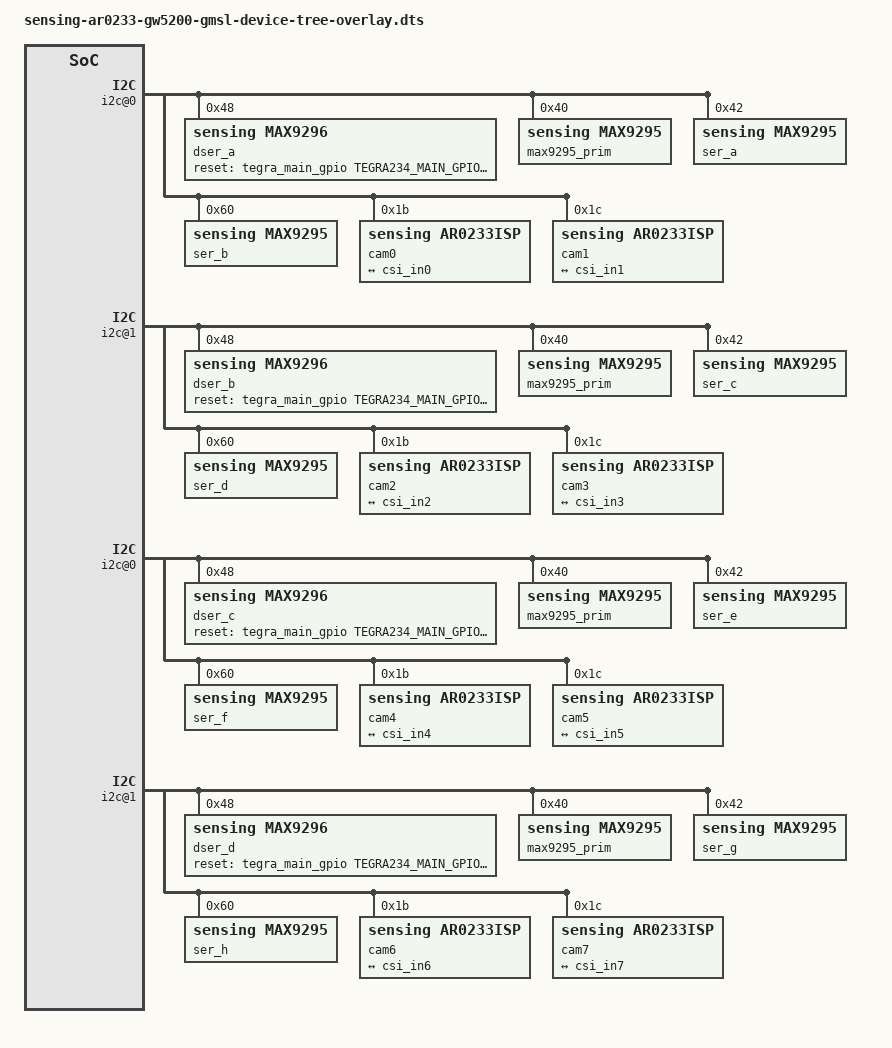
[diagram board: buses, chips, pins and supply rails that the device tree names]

#include <dt-bindings/gpio/tegra234-gpio.h>

/dts-v1/;
/plugin/;
 
/ {
    overlay-name = "Sensing AR0233 GW5200 GMSL2 Camera Device Tree Overlay";
    jetson-header-name = "Jetson AGX CSI Connector";
    compatible = "nvidia,p3737-0000+p3701-0000" , "nvidia,p3737-0000+p3701-0004", "nvidia,p3737-0000+p3701-0005";
 
    fragment@0 {
        target-path = "/i2c@3180000/tca9543@72/i2c@0";
        __overlay__ {
            dser_a: max9296@48 {
			    compatible = "sensing,max9296";
			    streams = "yuv8";
			    reg = <0x48>;
			    csi-mode = "2x4";
				max-src = <2>;
			    fsync-gpio = <6>;
			    reset-gpios = <&tegra_main_gpio TEGRA234_MAIN_GPIO(H, 6) GPIO_ACTIVE_HIGH>;
            };
            max9295_prim@40 {
                compatible = "sensing,max9295";
                reg = <0x40>;
                is-prim-ser;
            };
            ser_a: max9295_a@42 {
                compatible = "sensing,max9295";
                reg = <0x42>;
                nvidia,gmsl-dser-device = <&dser_a>;
            };
            ser_b: max9295_b@60 {
                compatible = "sensing,max9295";
                reg = <0x60>;
                nvidia,gmsl-dser-device = <&dser_a>;
            };
            cam0@1b {
                compatible = "sensing,ar0233isp";
                def-addr = <0x10>;
                mclk = "extperiph1";
                nvidia,gmsl-ser-device = <&ser_a>;
                nvidia,gmsl-dser-device = <&dser_a>;
                reg = <0x1b>;
                reg_mux = <0>;
                physical_w = "15.0";
                physical_h = "12.5";
                sensor_model ="ar0233";
                post_crop_frame_drop = "0";
                use_sensor_mode_id = "true";

                mode0 {
                    mclk_khz = "24000";
                    num_lanes = "4";
                    tegra_sinterface = "serial_a";
                    vc_id = "0";
                    discontinuous_clk = "no";
                    dpcm_enable = "false";
                    cil_settletime = "0";
                    dynamic_pixel_bit_depth = "16";
                    csi_pixel_bit_depth = "16";
                    mode_type = "yuv";
                    pixel_phase = "uyvy";

                    active_w = "1920";
                    active_h = "1080";
                    readout_orientation = "0";
                    line_length = "2200";
                    inherent_gain = "1";
                    pix_clk_hz = "74250000";
                    serdes_pix_clk_hz = "833333333";

                    gain_factor = "100";
                    min_gain_val = "100";
                    max_gain_val = "800";
                    step_gain_val = "1";
                    default_gain = "100";
                    min_hdr_ratio = "1";
                    max_hdr_ratio = "1";
                    framerate_factor = "1000000";
                    min_framerate = "30000000";
                    max_framerate = "30000000";
                    step_framerate = "1";
                    default_framerate = "30000000";
                    exposure_factor = "1000000";
                    min_exp_time = "49";
                    max_exp_time = "33333";
                    step_exp_time = "1";
                    default_exp_time = "33333";
                    embedded_metadata_height = "0";
                };
                ports {
                    #address-cells = <1>;
                    #size-cells = <0>;
                    port@0 {
                        reg = <0>;
                        ar0233_out0: endpoint {
                            vc-id = <0>;
                            port-index = <0>;
                            bus-width = <4>;
                            remote-endpoint = <&csi_in0>;
                        };
                    };
                };
                gmsl-link {
                    src-csi-port = "b";
                    dst-csi-port = "a";
                    serdes-csi-link = "a";
                    csi-mode = "1x4";
                    st-vc = <0>;
                    vc-id = <0>;
                    num-lanes = <4>;
                    streams = "ued-u1", "yuv8";
                };
            };
            cam1@1c {
                compatible = "sensing,ar0233isp";
                def-addr = <0x10>;
                mclk = "extperiph1";
                nvidia,gmsl-ser-device = <&ser_b>;
                nvidia,gmsl-dser-device = <&dser_a>;
                reg = <0x1c>;
                reg_mux = <0>;
                physical_w = "15.0";
                physical_h = "12.5";
                sensor_model ="ar0233";
                post_crop_frame_drop = "0";
                use_sensor_mode_id = "true";

                mode0 {
                    mclk_khz = "24000";
                    num_lanes = "4";
                    tegra_sinterface = "serial_a";
                    vc_id = "1";
                    discontinuous_clk = "no";
                    dpcm_enable = "false";
                    cil_settletime = "0";
                    dynamic_pixel_bit_depth = "16";
                    csi_pixel_bit_depth = "16";
                    mode_type = "yuv";
                    pixel_phase = "uyvy";

                    active_w = "1920";
                    active_h = "1080";
                    readout_orientation = "0";
                    line_length = "2200";
                    inherent_gain = "1";
                    pix_clk_hz = "74250000";
                    serdes_pix_clk_hz = "833333333";

                    gain_factor = "100";
                    min_gain_val = "100";
                    max_gain_val = "800";
                    step_gain_val = "1";
                    default_gain = "100";
                    min_hdr_ratio = "1";
                    max_hdr_ratio = "1";
                    framerate_factor = "1000000";
                    min_framerate = "30000000";
                    max_framerate = "30000000";
                    step_framerate = "1";
                    default_framerate = "30000000";
                    exposure_factor = "1000000";
                    min_exp_time = "49";
                    max_exp_time = "33333";
                    step_exp_time = "1";
                    default_exp_time = "33333";
                    embedded_metadata_height = "0";
                };
                ports {
                    #address-cells = <1>;
                    #size-cells = <0>;
                    port@0 {
                        reg = <0>;
                        ar0233_out1: endpoint {
                            vc-id = <1>;
                            port-index = <0>;
                            bus-width = <4>;
                            remote-endpoint = <&csi_in1>;
                        };
                    };
                };
                gmsl-link {
                    src-csi-port = "b";
                    dst-csi-port = "a";
                    serdes-csi-link = "b";
                    csi-mode = "1x4";
                    st-vc = <0>;
                    vc-id = <1>;
                    num-lanes = <4>;
                    streams = "ued-u1", "yuv8";
                };                      
            };
        };
    };

    fragment@1 {
        target-path = "/i2c@3180000/tca9543@72/i2c@1";
        __overlay__ {
            dser_b: max9296@48 {
			    compatible = "sensing,max9296";
			    streams = "yuv8";
			    reg = <0x48>;
			    csi-mode = "2x4";
				max-src = <2>;
			    fsync-gpio = <6>;
			    reset-gpios = <&tegra_main_gpio TEGRA234_MAIN_GPIO(AC, 0) GPIO_ACTIVE_HIGH>;
            };
            max9295_prim@40 {
                compatible = "sensing,max9295";
                reg = <0x40>;
                is-prim-ser;
            };
            ser_c: max9295_a@42 {
                compatible = "sensing,max9295";
                reg = <0x42>;
                nvidia,gmsl-dser-device = <&dser_b>;
            };
            ser_d: max9295_b@60 {
                compatible = "sensing,max9295";
                reg = <0x60>;
                nvidia,gmsl-dser-device = <&dser_b>;
            };
            cam2@1b {
                compatible = "sensing,ar0233isp";
                def-addr = <0x10>;
                mclk = "extperiph1";
                nvidia,gmsl-ser-device = <&ser_c>;
                nvidia,gmsl-dser-device = <&dser_b>;
                reg = <0x1b>;
                reg_mux = <1>;

                physical_w = "15.0";
                physical_h = "12.5";

                sensor_model ="ar0233";

                post_crop_frame_drop = "0";

                /* enable CID_SENSOR_MODE_ID for sensor modes selection */
                use_sensor_mode_id = "true";

                mode0 {
                    mclk_khz = "24000";
                    num_lanes = "4";
                    tegra_sinterface = "serial_c";
                    vc_id = "0";
                    discontinuous_clk = "no";
                    dpcm_enable = "false";
                    cil_settletime = "0";
                    dynamic_pixel_bit_depth = "16";
                    csi_pixel_bit_depth = "16";
                    mode_type = "yuv";
                    pixel_phase = "uyvy";

                    active_w = "1920";
                    active_h = "1080";
                    readout_orientation = "0";
                    line_length = "2200";
                    inherent_gain = "1";
                    pix_clk_hz = "74250000";
                    serdes_pix_clk_hz = "833333333";

                    gain_factor = "100";
                    min_gain_val = "100";
                    max_gain_val = "800";
                    step_gain_val = "1";
                    default_gain = "100";
                    min_hdr_ratio = "1";
                    max_hdr_ratio = "1";
                    framerate_factor = "1000000";
                    min_framerate = "30000000";
                    max_framerate = "30000000";
                    step_framerate = "1";
                    default_framerate = "30000000";
                    exposure_factor = "1000000";
                    min_exp_time = "49";
                    max_exp_time = "33333";
                    step_exp_time = "1";
                    default_exp_time = "33333";
                    embedded_metadata_height = "0";
                };
                ports {
                    #address-cells = <1>;
                    #size-cells = <0>;
                    port@0 {
                        reg = <0>;
                        ar0233_out2: endpoint {
                            vc-id = <0>;
                            port-index = <2>;
                            bus-width = <4>;
                            remote-endpoint = <&csi_in2>;
                        };
                    };
                };
                gmsl-link {
                    src-csi-port = "b";
                    dst-csi-port = "a";
                    serdes-csi-link = "a";
                    csi-mode = "1x4";
                    st-vc = <0>;
                    vc-id = <0>;
                    num-lanes = <4>;
                    streams = "ued-u1", "yuv8";
                };
            };
            cam3@1c {
                compatible = "sensing,ar0233isp";
                def-addr = <0x10>;
                mclk = "extperiph1";
                nvidia,gmsl-ser-device = <&ser_d>;
                nvidia,gmsl-dser-device = <&dser_b>;
                reg = <0x1c>;
                reg_mux = <1>;

                physical_w = "15.0";
                physical_h = "12.5";

                sensor_model ="ar0233";

                post_crop_frame_drop = "0";

                use_sensor_mode_id = "true";

                mode0 {
                    mclk_khz = "24000";
                    num_lanes = "4";
                    tegra_sinterface = "serial_c";
                    vc_id = "1";
                    discontinuous_clk = "no";
                    dpcm_enable = "false";
                    cil_settletime = "0";
                    dynamic_pixel_bit_depth = "16";
                    csi_pixel_bit_depth = "16";
                    mode_type = "yuv";
                    pixel_phase = "uyvy";

                    active_w = "1920";
                    active_h = "1080";
                    readout_orientation = "0";
                    line_length = "2200";
                    inherent_gain = "1";
                    pix_clk_hz = "74250000";
                    serdes_pix_clk_hz = "833333333";

                    gain_factor = "100";
                    min_gain_val = "100";
                    max_gain_val = "800";
                    step_gain_val = "1";
                    default_gain = "100";
                    min_hdr_ratio = "1";
                    max_hdr_ratio = "1";
                    framerate_factor = "1000000";
                    min_framerate = "30000000";
                    max_framerate = "30000000";
                    step_framerate = "1";
                    default_framerate = "30000000";
                    exposure_factor = "1000000";
                    min_exp_time = "49";
                    max_exp_time = "33333";
                    step_exp_time = "1";
                    default_exp_time = "33333";
                    embedded_metadata_height = "0";
                };
                ports {
                    #address-cells = <1>;
                    #size-cells = <0>;
                    port@0 {
                        reg = <0>;
                        ar0233_out3: endpoint {
                            vc-id = <1>;
                            port-index = <2>;
                            bus-width = <4>;
                            remote-endpoint = <&csi_in3>;
                        };
                    };
                };
                gmsl-link {
                    src-csi-port = "b";
                    dst-csi-port = "a";
                    serdes-csi-link = "b";
                    csi-mode = "1x4";
                    st-vc = <0>;
                    vc-id = <1>;
                    num-lanes = <4>;
                    streams = "ued-u1", "yuv8";
                };
            };
        };
    };
  
    fragment@2 {
        target-path = "/i2c@3180000/tca9543@70/i2c@0";
        __overlay__ {
            dser_c: max9296@48 {
			    compatible = "sensing,max9296";
			    streams = "yuv8";
			    reg = <0x48>;
			    csi-mode = "2x4";
				max-src = <2>;
			    fsync-gpio = <6>;
			    reset-gpios = <&tegra_main_gpio TEGRA234_MAIN_GPIO(H, 3) GPIO_ACTIVE_HIGH>;
            };
            max9295_prim@40 {
                compatible = "sensing,max9295";
                reg = <0x40>;
                is-prim-ser;
            };
            ser_e: max9295_a@42 {
                compatible = "sensing,max9295";
                reg = <0x42>;
                nvidia,gmsl-dser-device = <&dser_c>;
            };
            ser_f: max9295_b@60 {
                compatible = "sensing,max9295";
                reg = <0x60>;
                nvidia,gmsl-dser-device = <&dser_c>;
            };
            cam4@1b {
                compatible = "sensing,ar0233isp";
                def-addr = <0x10>;
                mclk = "extperiph1";
                nvidia,gmsl-ser-device = <&ser_e>;
                nvidia,gmsl-dser-device = <&dser_c>;
                reg = <0x1b>;
                reg_mux = <4>;

                physical_w = "15.0";
                physical_h = "12.5";

                sensor_model ="ar0233";

                post_crop_frame_drop = "0";

                use_sensor_mode_id = "true";

                mode0 {
                    mclk_khz = "24000";
                    num_lanes = "4";
                    tegra_sinterface = "serial_e";
                    vc_id = "0";
                    discontinuous_clk = "no";
                    dpcm_enable = "false";
                    cil_settletime = "0";
                    dynamic_pixel_bit_depth = "16";
                    csi_pixel_bit_depth = "16";
                    mode_type = "yuv";
                    pixel_phase = "uyvy";

                    active_w = "1920";
                    active_h = "1080";
                    readout_orientation = "0";
                    line_length = "2200";
                    inherent_gain = "1";
                    pix_clk_hz = "74250000";
                    serdes_pix_clk_hz = "833333333";

                    gain_factor = "100";
                    min_gain_val = "100";
                    max_gain_val = "800";
                    step_gain_val = "1";
                    default_gain = "100";
                    min_hdr_ratio = "1";
                    max_hdr_ratio = "1";
                    framerate_factor = "1000000";
                    min_framerate = "30000000";
                    max_framerate = "30000000";
                    step_framerate = "1";
                    default_framerate = "30000000";
                    exposure_factor = "1000000";
                    min_exp_time = "49";
                    max_exp_time = "33333";
                    step_exp_time = "1";
                    default_exp_time = "33333";
                    embedded_metadata_height = "0";
                };
                ports {
                    #address-cells = <1>;
                    #size-cells = <0>;
                    port@0 {
                        reg = <0>;
                        ar0233_out4: endpoint {
                            vc-id = <0>;
                            port-index = <4>;
                            bus-width = <4>;
                            remote-endpoint = <&csi_in4>;
                        };
                    };
                };
                gmsl-link {
                    src-csi-port = "b";
                    dst-csi-port = "a";
                    serdes-csi-link = "a";
                    csi-mode = "1x4";
                    st-vc = <0>;
                    vc-id = <0>;
                    num-lanes = <4>;
                    streams = "ued-u1", "yuv8";
                };
            };
            cam5@1c {
                compatible = "sensing,ar0233isp";
                def-addr = <0x10>;
                mclk = "extperiph1";
                nvidia,gmsl-ser-device = <&ser_f>;
                nvidia,gmsl-dser-device = <&dser_c>;
                reg = <0x1c>;
                reg_mux = <2>;

                physical_w = "15.0";
                physical_h = "12.5";

                sensor_model ="ar0233";

                post_crop_frame_drop = "0";

                use_sensor_mode_id = "true";

                mode0 {
                    mclk_khz = "24000";
                    num_lanes = "4";
                    tegra_sinterface = "serial_e";
                    vc_id = "1";
                    discontinuous_clk = "no";
                    dpcm_enable = "false";
                    cil_settletime = "0";
                    dynamic_pixel_bit_depth = "16";
                    csi_pixel_bit_depth = "16";
                    mode_type = "yuv";
                    pixel_phase = "uyvy";

                    active_w = "1920";
                    active_h = "1080";
                    readout_orientation = "0";
                    line_length = "2200";
                    inherent_gain = "1";
                    pix_clk_hz = "74250000";
                    serdes_pix_clk_hz = "833333333";

                    gain_factor = "100";
                    min_gain_val = "100";
                    max_gain_val = "800";
                    step_gain_val = "1";
                    default_gain = "100";
                    min_hdr_ratio = "1";
                    max_hdr_ratio = "1";
                    framerate_factor = "1000000";
                    min_framerate = "30000000";
                    max_framerate = "30000000";
                    step_framerate = "1";
                    default_framerate = "30000000";
                    exposure_factor = "1000000";
                    min_exp_time = "49";
                    max_exp_time = "33333";
                    step_exp_time = "1";
                    default_exp_time = "33333";
                    embedded_metadata_height = "0";
                };
                ports {
                    #address-cells = <1>;
                    #size-cells = <0>;
                    port@0 {
                        reg = <0>;
                        ar0233_out5: endpoint {
                            vc-id = <1>;
                            port-index = <4>;
                            bus-width = <4>;
                            remote-endpoint = <&csi_in5>;
                        };
                    };
                };
                gmsl-link {
                    src-csi-port = "b";
                    dst-csi-port = "a";
                    serdes-csi-link = "b";
                    csi-mode = "1x4";
                    st-vc = <0>;
                    vc-id = <1>;
                    num-lanes = <4>;
                    streams = "ued-u1", "yuv8";
                };
            };
        };
    };

    fragment@3 {
        target-path = "/i2c@3180000/tca9543@70/i2c@1";
        __overlay__ {
            dser_d: max9296@48 {
			    compatible = "sensing,max9296";
			    streams = "yuv8";
			    reg = <0x48>;
			    csi-mode = "2x4";
				max-src = <2>;
			    fsync-gpio = <6>;
			    reset-gpios = <&tegra_main_gpio TEGRA234_MAIN_GPIO(AC, 1) GPIO_ACTIVE_HIGH>;
            };
            max9295_prim@40 {
                compatible = "sensing,max9295";
                reg = <0x40>;
                is-prim-ser;
            };
            ser_g: max9295_a@42 {
                compatible = "sensing,max9295";
                reg = <0x42>;
                nvidia,gmsl-dser-device = <&dser_d>;
            };
            ser_h: max9295_b@60 {
                compatible = "sensing,max9295";
                reg = <0x60>;
                nvidia,gmsl-dser-device = <&dser_d>;
            };
            cam6@1b {
                compatible = "sensing,ar0233isp";
                def-addr = <0x10>;
                mclk = "extperiph1";
                nvidia,gmsl-ser-device = <&ser_g>;
                nvidia,gmsl-dser-device = <&dser_d>;
                reg = <0x1b>;
                reg_mux = <3>;

                physical_w = "15.0";
                physical_h = "12.5";

                sensor_model ="ar0233";

                post_crop_frame_drop = "0";

                use_sensor_mode_id = "true";

                mode0 {
                    mclk_khz = "24000";
                    num_lanes = "4";
                    tegra_sinterface = "serial_g";
                    vc_id = "0";
                    discontinuous_clk = "no";
                    dpcm_enable = "false";
                    cil_settletime = "0";
                    dynamic_pixel_bit_depth = "16";
                    csi_pixel_bit_depth = "16";
                    mode_type = "yuv";
                    pixel_phase = "uyvy";

                    active_w = "1920";
                    active_h = "1080";
                    readout_orientation = "0";
                    line_length = "2200";
                    inherent_gain = "1";
                    pix_clk_hz = "74250000";
                    serdes_pix_clk_hz = "833333333";

                    gain_factor = "100";
                    min_gain_val = "100";
                    max_gain_val = "800";
                    step_gain_val = "1";
                    default_gain = "100";
                    min_hdr_ratio = "1";
                    max_hdr_ratio = "1";
                    framerate_factor = "1000000";
                    min_framerate = "30000000";
                    max_framerate = "30000000";
                    step_framerate = "1";
                    default_framerate = "30000000";
                    exposure_factor = "1000000";
                    min_exp_time = "49";
                    max_exp_time = "33333";
                    step_exp_time = "1";
                    default_exp_time = "33333";
                    embedded_metadata_height = "0";
                };
                ports {
                    #address-cells = <1>;
                    #size-cells = <0>;
                    port@0 {
                        reg = <0>;
                        ar0233_out6: endpoint {
                            vc-id = <0>;
                            port-index = <5>;
                            bus-width = <4>;
                            remote-endpoint = <&csi_in6>;
                        };
                    };
                };
                gmsl-link {
                    src-csi-port = "b";
                    dst-csi-port = "a";
                    serdes-csi-link = "a";
                    csi-mode = "1x4";
                    st-vc = <0>;
                    vc-id = <0>;
                    num-lanes = <4>;
                    streams = "ued-u1", "yuv8";
                };
            };
            cam7@1c {
                compatible = "sensing,ar0233isp";
                def-addr = <0x10>;
                mclk = "extperiph1";
                nvidia,gmsl-ser-device = <&ser_h>;
                nvidia,gmsl-dser-device = <&dser_d>;
                reg = <0x1c>;
                reg_mux = <3>;

                physical_w = "15.0";
                physical_h = "12.5";

                sensor_model ="ar0233";

                post_crop_frame_drop = "0";

                use_sensor_mode_id = "true";

                mode0 {
                    mclk_khz = "24000";
                    num_lanes = "4";
                    tegra_sinterface = "serial_g";
                    vc_id = "1";
                    discontinuous_clk = "no";
                    dpcm_enable = "false";
                    cil_settletime = "0";
                    dynamic_pixel_bit_depth = "16";
                    csi_pixel_bit_depth = "16";
                    mode_type = "yuv";
                    pixel_phase = "uyvy";

                    active_w = "1920";
                    active_h = "1080";
                    readout_orientation = "0";
                    line_length = "2200";
                    inherent_gain = "1";
                    pix_clk_hz = "74250000";
                    serdes_pix_clk_hz = "833333333";

                    gain_factor = "100";
                    min_gain_val = "100";
                    max_gain_val = "800";
                    step_gain_val = "1";
                    default_gain = "100";
                    min_hdr_ratio = "1";
                    max_hdr_ratio = "1";
                    framerate_factor = "1000000";
                    min_framerate = "30000000";
                    max_framerate = "30000000";
                    step_framerate = "1";
                    default_framerate = "30000000";
                    exposure_factor = "1000000";
                    min_exp_time = "49";
                    max_exp_time = "33333";
                    step_exp_time = "1";
                    default_exp_time = "33333";
                    embedded_metadata_height = "0";
                };
                ports {
                    #address-cells = <1>;
                    #size-cells = <0>;
                    port@0 {
                        reg = <0>;
                        ar0233_out7: endpoint {
                            vc-id = <1>;
                            port-index = <5>;
                            bus-width = <4>;
                            remote-endpoint = <&csi_in7>;
                        };
                    };
                };
                gmsl-link {
                    src-csi-port = "b";
                    dst-csi-port = "a";
                    serdes-csi-link = "b";
                    csi-mode = "1x4";
                    st-vc = <0>;
                    vc-id = <1>;
                    num-lanes = <4>;
                    streams = "ued-u1", "yuv8";
                };
            };
        };
    };

    fragment@4 {
        target-path = "/host1x@13e00000/nvcsi@15a00000";
        __overlay__ {
            num-channels = <8>;
			#address-cells = <1>;
			#size-cells = <0>;
			channel@0 {
				reg = <0>;
				ports {
					#address-cells = <1>;
					#size-cells = <0>;
					port@0 {
						reg = <0>;
						csi_in0: endpoint@0 {
							port-index = <0>;
							bus-width = <4>;
							remote-endpoint = <&ar0233_out0>;
						};
					};
					port@1 {
						reg = <1>;
						csi_out0: endpoint@1 {
							remote-endpoint = <&vi_in0>;
						};
					};
				};
			};
			channel@1 {
				reg = <1>;
				ports {
					#address-cells = <1>;
					#size-cells = <0>;
					port@0 {
						reg = <0>;
						csi_in1: endpoint@2 {
							port-index = <0>;
							bus-width = <4>;
							remote-endpoint = <&ar0233_out1>;
						};
					};
					port@1 {
						reg = <1>;
						csi_out1: endpoint@3 {
							remote-endpoint = <&vi_in1>;
						};
					};
				};
			};
			channel@2 {
				reg = <2>;
				ports {
					#address-cells = <1>;
					#size-cells = <0>;
					port@0 {
						reg = <0>;
						csi_in2: endpoint@4 {
							port-index = <2>;
							bus-width = <4>;
							remote-endpoint = <&ar0233_out2>;
						};
					};
					port@1 {
						reg = <1>;
						csi_out2: endpoint@5 {
							remote-endpoint = <&vi_in2>;
						};
					};
				};
			};
			channel@3 {
				reg = <3>;
				ports {
					#address-cells = <1>;
					#size-cells = <0>;
					port@0 {
						reg = <0>;
						csi_in3: endpoint@6 {
							port-index = <2>;
							bus-width = <4>;
							remote-endpoint = <&ar0233_out3>;
						};
					};
					port@1 {
						reg = <1>;
						csi_out3: endpoint@7 {
							remote-endpoint = <&vi_in3>;
						};
					};
				};
			};
			channel@4 {
				reg = <4>;
				ports {
					#address-cells = <1>;
					#size-cells = <0>;
					port@0 {
						reg = <0>;
						csi_in4: endpoint@8 {
							port-index = <4>;
							bus-width = <4>;
							remote-endpoint = <&ar0233_out4>;
						};
					};
					port@1 {
						reg = <1>;
						csi_out4: endpoint@9 {
							remote-endpoint = <&vi_in4>;
						};
					};
				};
			};
			channel@5 {
				reg = <5>;
				ports {
					#address-cells = <1>;
					#size-cells = <0>;
					port@0 {
						reg = <0>;
						csi_in5: endpoint@10 {
							port-index = <4>;
							bus-width = <4>;
							remote-endpoint = <&ar0233_out5>;
						};
					};
					port@1 {
						reg = <1>;
						csi_out5: endpoint@11 {
							remote-endpoint = <&vi_in5>;
						};
					};
				};
			};
			channel@6 {
				reg = <6>;
				ports {
					#address-cells = <1>;
					#size-cells = <0>;
					port@0 {
						reg = <0>;
						csi_in6: endpoint@12 {
							port-index = <6>;
							bus-width = <4>;
							remote-endpoint = <&ar0233_out6>;
						};
					};
					port@1 {
						reg = <1>;
						csi_out6: endpoint@13 {
							remote-endpoint = <&vi_in6>;
						};
					};
				};
			};
			channel@7 {
				reg = <7>;
				ports {
					#address-cells = <1>;
					#size-cells = <0>;
					port@0 {
						reg = <0>;
						csi_in7: endpoint@14 {
							port-index = <6>;
							bus-width = <4>;
							remote-endpoint = <&ar0233_out7>;
						};
					};
					port@1 {
						reg = <1>;
						csi_out7: endpoint@15 {
							remote-endpoint = <&vi_in7>;
						};
					};
				};
			};
		};
    };

    fragment@5 {
        target-path = "/tegra-capture-vi";
        __overlay__ {
            num-channels = <8>;
		    ports {
		    	#address-cells = <1>;
		    	#size-cells = <0>;
		    	port@0 {
		    		reg = <0>;
		    		vi_in0: endpoint {
		    			vc-id = <0>;
		    			port-index = <0>;
		    			bus-width = <4>;
		    			remote-endpoint = <&csi_out0>;
		    		};
		    	};
		    	port@1 {
		    		reg = <1>;
		    		vi_in1: endpoint {
		    			vc-id = <1>;
		    			port-index = <0>;
		    			bus-width = <4>;
		    			remote-endpoint = <&csi_out1>;
		    		};
		    	};
		    	port@2 {
		    	    reg = <2>;
		    		vi_in2: endpoint {
		    			vc-id = <0>;
		    			port-index = <2>;
		    			bus-width = <4>;
		    			remote-endpoint = <&csi_out2>;
                  };
              };
		    	port@3 {
		    		reg = <3>;
		    		vi_in3: endpoint {
		    			vc-id = <1>;
		    			port-index = <2>;
		    			bus-width = <4>;
		    			remote-endpoint = <&csi_out3>;
		    		};
		    	};
		    	port@4 {
		    		reg = <4>;
		    		vi_in4: endpoint {
		    			vc-id = <0>;
		    			port-index = <4>;
		    			bus-width = <4>;
		    			remote-endpoint = <&csi_out4>;
		    		};
		    	};
		    	port@5 {
		    		reg = <5>;
		    		vi_in5: endpoint {
		    			vc-id = <1>;
		    			port-index = <4>;
		    			bus-width = <4>;
		    			remote-endpoint = <&csi_out5>;
		    		};
		    	};
		    	port@6 {
		    		reg = <6>;
		    		vi_in6: endpoint {
		    			vc-id = <0>;
		    			port-index = <5>;
		    			bus-width = <4>;
		    			remote-endpoint = <&csi_out6>;
		    		};
		    	};
		    	port@7 {
		    		reg = <7>;
		    		vi_in7: endpoint {
		    			vc-id = <1>;
		    			port-index = <5>;
		    			bus-width = <4>;
		    			remote-endpoint = <&csi_out7>;
		    		};
		    	};
		    };
        };
    };

    /* Tegra Camera models */
    fragment6 {
        target = <&tcp>;
        __overlay__ {
	        num_csi_lanes = <8>;
	        max_lane_speed = <4000000>;
	        min_bits_per_pixel = <10>;
	        vi_peak_byte_per_pixel = <2>;
	        vi_bw_margin_pct = <25>;
	        isp_peak_byte_per_pixel = <5>;
	        isp_bw_margin_pct = <25>;

            modules {
			    module0 {
			    	badge = "ar0233_rear";
			    	position = "rear";
			    	orientation = "1";
			    	drivernode0 {
			    		pcl_id = "v4l2_sensor";
			    		devname = "ar0233 30-001b";
			    		proc-device-tree = "/proc/device-tree/i2c@3180000/tca9543@72/i2c@0/cam0@1b";
			    	};
			    };
			    module1 {
				    badge = "ar0233_front";
				    position = "front";
				    orientation = "1";
				    drivernode0 {
				    	pcl_id = "v4l2_sensor";
				    	devname = "ar0233 30-001c";
				    	proc-device-tree = "/proc/device-tree/i2c@3180000/tca9543@72/i2c@0/cam1@1c";
				    };
			    };
			    module2 {
				    badge = "ar0233_left";
				    position = "topright";
				    orientation = "1";
				    drivernode0 {
				    	pcl_id = "v4l2_sensor";
				    	devname = "ar0233 31-001b";
				    	proc-device-tree = "/proc/device-tree/i2c@3180000/tca9543@72/i2c@1/cam2@1b";
				    };
			    };
			    module3 {
				    badge = "ar0233_right";
				    position = "bottomright";
				    orientation = "1";
				    drivernode0 {
				    	pcl_id = "v4l2_sensor";
				    	devname = "ar0233 31-001c";
				    	proc-device-tree = "/proc/device-tree/i2c@3180000/tca9543@72/i2c@1/cam3@1c";
				    };
			    };
			    module4 {
				    badge = "ar0233_right";
				    position = "topleft";
				    orientation = "1";
				    drivernode0 {
					    pcl_id = "v4l2_sensor";
					    devname = "ar0233 32-001b";
					    proc-device-tree = "/proc/device-tree/i2c@3180000/tca9543@73/i2c@0/cam4@1b";
				    };
			    };
			    module5 {
				    badge = "ar0233_right";
				    position = "centerright";
				    orientation = "1";
				    drivernode0 {
					    pcl_id = "v4l2_sensor";
					    devname = "ar0233 32-001c";
					    proc-device-tree = "/proc/device-tree/i2c@3180000/tca9543@73/i2c@0/cam5@1c";
				    };
			    };
			    module6 {
				    badge = "ar0233_right";
				    position = "centerleft";
				    orientation = "1";
				    drivernode0 {
					    pcl_id = "v4l2_sensor";
					    devname = "ar0233 33-001b";
					    proc-device-tree = "/proc/device-tree/i2c@3180000/tca9543@73/i2c@1/cam6@1b";
				    };
			    };
			    module7 {
				    badge = "ar0233_right";
				    position = "bottomleft";
				    orientation = "1";
				    drivernode0 {
					    pcl_id = "v4l2_sensor";
					    devname = "ar0233 33-001c";
					    proc-device-tree = "/proc/device-tree/i2c@3180000/tca9543@73/i2c@1/cam7@1c";
				    };
			    };
		    };
        };
    };
};
